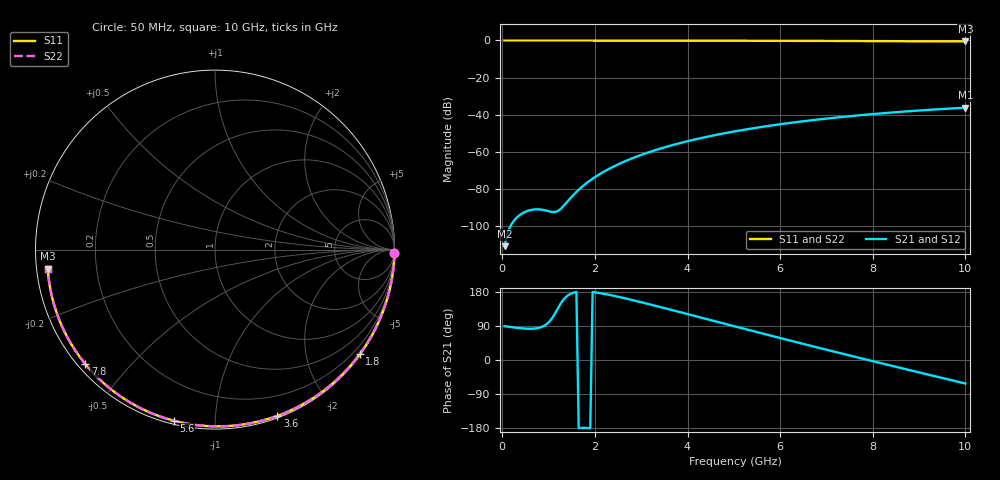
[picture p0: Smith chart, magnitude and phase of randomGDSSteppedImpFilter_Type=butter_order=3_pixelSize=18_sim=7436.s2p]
! freq	dB(S11)	phase(S11)	dB(S12)	phase(S12)
!  dB(S21)	phase(S21)	dB(S22)	phase(S22)
!S-par simulation data
#  GHz  S  DB  R 50
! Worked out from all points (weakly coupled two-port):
!   200 points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, 50 MHz to 10 GHz, reference 50 ohm
!   highest |S21| = -36.15 dB at 10 GHz (marker M1); lowest = -110.6 dB at 50 MHz (marker M2)
!   lowest |S11| = -0.6 dB at 10 GHz (marker M3), VSWR 31.13, Z = 1.61 - j2.84 ohm
!   |S11| at or under -10 dB: nowhere
!   |S22| runs from -0.6 to 0.0 dB; largest |S21 - S12| = 0
!   S11 on the Smith chart (normalised r, x): 50 MHz: open; 1.8 GHz: 0.03, -3.10; 3.6 GHz: 0.02, -1.44; 5.6 GHz: 0.02, -0.79; 7.8 GHz: 0.02, -0.38; 10 GHz: 0.03, -0.06
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0.05  -0.00 -1.0  -110.62 89.1  -110.62 89.1  -0.00 -1.0
0.4  -0.01 -8.1  -93.48 83.7  -93.48 83.7  -0.01 -8.1
0.8  -0.02 -16.1  -90.85 85.3  -90.85 85.3  -0.02 -16.1
1.2  -0.03 -24.1  -91.70 136.2  -91.70 136.2  -0.03 -24.1
1.65  -0.04 -32.9  -80.29 -179.6  -80.29 -179.6  -0.04 -32.9
1.75  -0.04 -34.8  -78.10 -179.0  -78.10 -179.0  -0.04 -34.8
1.8  -0.05 -35.8  -77.09 -179.1  -77.09 -179.1  -0.05 -35.8
2.1  -0.05 -41.6  -71.92 176.7  -71.92 176.7  -0.05 -41.6
2.3  -0.06 -45.4  -69.10 172.2  -69.10 172.2  -0.06 -45.4
2.5  -0.06 -49.2  -66.63 167.0  -66.63 167.0  -0.06 -49.2
2.9  -0.07 -56.6  -62.45 155.5  -62.45 155.5  -0.07 -56.6
3.4  -0.09 -65.8  -58.24 140.1  -58.24 140.1  -0.09 -65.8
3.6  -0.09 -69.4  -56.78 133.8  -56.78 133.8  -0.09 -69.4
4.3  -0.12 -81.7  -52.44 111.6  -52.44 111.6  -0.12 -81.7
5.05  -0.14 -94.5  -48.75 87.8  -48.75 87.8  -0.14 -94.5
5.6  -0.17 -103.6  -46.50 70.4  -46.50 70.4  -0.17 -103.6
6.15  -0.20 -112.5  -44.55 53.3  -44.55 53.3  -0.20 -112.5
6.7  -0.23 -121.3  -42.85 36.3  -42.85 36.3  -0.23 -121.3
7.8  -0.32 -138.5  -40.03 2.9  -40.03 2.9  -0.32 -138.5
8.35  -0.37 -147.1  -38.86 -13.6  -38.86 -13.6  -0.37 -147.1
9.2  -0.46 -160.5  -37.33 -38.7  -37.33 -38.7  -0.46 -160.5
10  -0.56 -173.5  -36.15 -62.1  -36.15 -62.1  -0.56 -173.5
